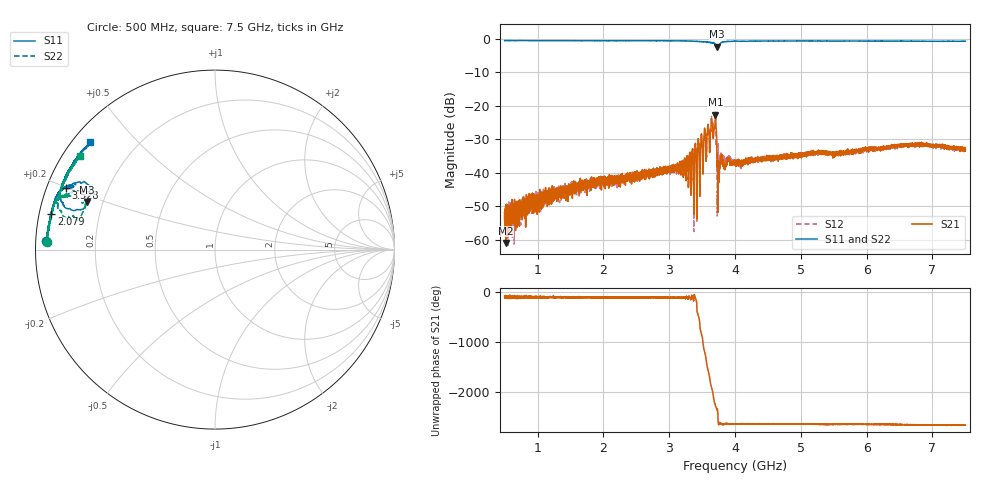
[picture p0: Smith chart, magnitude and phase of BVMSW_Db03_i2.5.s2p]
!Keysight Technologies,M9374A,MY55442783,A.12.55.05
!Date: Friday, May 21, 2021 10:51:17
!Correction: S11(Full 2 Port(1,2))
!S21(Full 2 Port(1,2))
!S12(Full 2 Port(1,2))
!S22(Full 2 Port(1,2))
!S2P File: Measurements: S11, S21, S12, S22:
# Hz S  RI  R 50
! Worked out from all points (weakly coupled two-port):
!   7001 points, 500 MHz to 7.5 GHz, reference 50 ohm
!   highest |S21| = -22.65 dB at 3.703 GHz (marker M1); lowest = -61.0 dB at 517 MHz (marker M2)
!   lowest |S11| = -2.4 dB at 3.73 GHz (marker M3), VSWR 7.32, Z = 7.05 + j8.85 ohm
!   |S11| at or under -10 dB: nowhere
!   |S22| runs from -2.5 to -0.5 dB; largest |S21 - S12| = 0.03
!   S11 on the Smith chart (normalised r, x): 500 MHz: 0.03, +0.03; 2.079 GHz: 0.03, +0.11; 3.528 GHz: 0.06, +0.20; 7.5 GHz: 0.05, +0.37
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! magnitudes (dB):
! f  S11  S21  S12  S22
! 500 MHz  -0.5  -53.9  -54.6  -0.6
! 517 MHz  -0.5  -61.0  -56.8  -0.6
! 1.667 GHz  -0.6  -43.7  -44.5  -0.6
! 2.079 GHz  -0.6  -42.6  -42.8  -0.6
! 2.834 GHz  -0.6  -40.1  -40.5  -0.6
! 3.335 GHz  -0.7  -46.2  -47.2  -0.7
! 3.353 GHz  -0.7  -33.6  -33.2  -0.8
! 3.378 GHz  -0.7  -46.6  -50.4  -0.8
! 3.397 GHz  -0.7  -31.6  -31.6  -0.8
! 3.42 GHz  -0.8  -53.8  -54.9  -0.8
! 3.444 GHz  -0.8  -29.9  -29.9  -0.8
! 3.465 GHz  -0.8  -47.1  -44.2  -0.9
! 3.528 GHz  -0.9  -30.1  -30.0  -0.9
! 3.673 GHz  -1.2  -29.0  -28.3  -1.3
! 3.703 GHz  -2.1  -22.6  -22.0  -2.1
! 3.73 GHz  -2.4  -38.3  -53.0  -2.4
! 3.761 GHz  -1.7  -37.3  -34.8  -1.6
! 3.807 GHz  -1.0  -36.7  -36.1  -1.1
! 4 GHz  -0.7  -37.1  -37.3  -0.8
! 5.167 GHz  -0.7  -34.5  -33.7  -0.7
! 6.334 GHz  -0.7  -32.4  -32.6  -0.7
! 7.5 GHz  -0.7  -32.8  -32.9  -0.8
